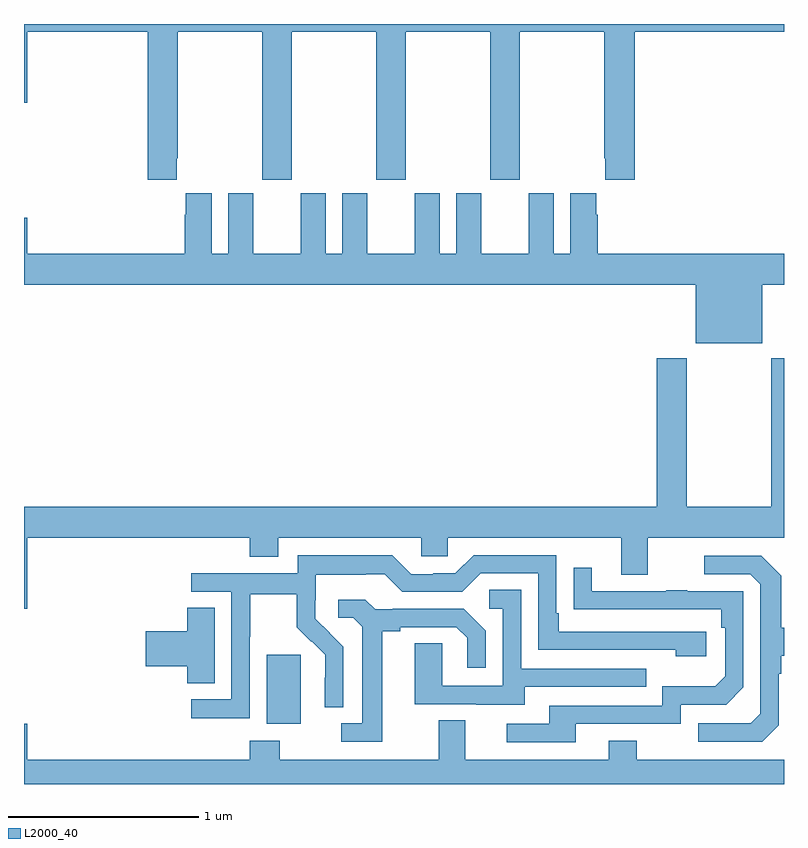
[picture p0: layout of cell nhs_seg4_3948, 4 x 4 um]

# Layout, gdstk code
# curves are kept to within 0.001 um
import gdstk
lib = gdstk.Library(unit=1e-6, precision=1e-09)
def R(c, l, rs):  # rectangles x0, y0, x1, y1
    for r in rs: c.add(gdstk.rectangle(r[:2], r[2:], *l))
def P(c, l, *ps):  # polygons
    for p in ps: c.add(gdstk.Polygon(p, *l))
L2000_40 = (2000, 40)

nhs_seg4_3948 = lib.new_cell('nhs_seg4_3948')
R(nhs_seg4_3948, L2000_40, [(322.277,753.218,322.456,753.579)])
P(nhs_seg4_3948, L2000_40, [(321.805,756.193),(321.81,756.193),(321.81,756.86),(322.255,756.86),(322.255,756.081),(322.41,756.081),(322.41,756.86),(322.855,756.86),(322.855,756.081),(323.01,756.081),(323.01,756.86),(323.455,756.86),(323.455,756.081),(323.61,756.081),(323.61,756.86),(324.055,756.86),(324.055,756.193),(324.059,756.193),(324.059,756.081),(324.215,756.081),(324.215,756.86),(325,756.86),(325,756.9),(321,756.9),(321,756.486),(321.016,756.486),(321.016,756.86),(321.65,756.86),(321.65,756.081),(321.805,756.081)],
  [(323.276,756.01),(323.276,755.692),(323.188,755.692),(323.188,756.01),(323.057,756.01),(323.057,755.692),(322.807,755.692),(322.807,756.01),(322.676,756.01),(322.676,755.692),(322.588,755.692),(322.588,756.01),(322.457,756.01),(322.457,755.692),(322.207,755.692),(322.207,756.01),(322.076,756.01),(322.076,755.692),(321.988,755.692),(321.988,756.01),(321.851,756.01),(321.851,755.897),(321.845,755.897),(321.845,755.692),(321.016,755.692),(321.016,755.881),(321,755.881),(321,755.528),(324.536,755.528),(324.536,755.219),(324.886,755.219),(324.886,755.528),(325,755.528),(325,755.692),(324.02,755.692),(324.02,755.897),(324.013,755.897),(324.013,756.01),(323.876,756.01),(323.876,755.692),(323.788,755.692),(323.788,756.01),(323.657,756.01),(323.657,755.692),(323.407,755.692),(323.407,756.01)],
  [(321.016,754.196),(322.187,754.196),(322.187,754.097),(322.339,754.097),(322.339,754.196),(323.091,754.196),(323.091,754.098),(323.229,754.098),(323.229,754.196),(324.143,754.196),(324.143,754.002),(324.283,754.002),(324.283,754.196),(325,754.196),(325,755.14),(324.934,755.14),(324.934,754.36),(324.489,754.36),(324.489,755.14),(324.329,755.14),(324.329,754.36),(321,754.36),(321,753.822),(321.016,753.822)],
  [(322.188,753.676),(322.191,753.676),(322.191,753.9),(322.435,753.9),(322.435,753.725),(322.512,753.648),(322.515,753.651),(322.586,753.581),(322.586,753.458),(322.584,753.458),(322.584,753.304),(322.68,753.304),(322.68,753.622),(322.534,753.77),(322.534,753.867),(322.536,753.867),(322.536,754.001),(322.799,754.001),(322.799,754.005),(322.899,754.005),(322.992,753.912),(323.307,753.912),(323.403,754.008),(323.706,754.008),(323.706,753.606),(324.431,753.606),(324.431,753.572),(324.592,753.572),(324.592,753.702),(323.815,753.702),(323.815,753.799),(323.802,753.799),(323.802,754.104),(323.367,754.104),(323.271,754.008),(323.153,754.008),(323.153,754.005),(323.037,754.005),(322.937,754.105),(322.44,754.105),(322.44,754.008),(321.879,754.008),(321.879,753.912),(322.092,753.912),(322.092,753.345),(321.879,753.345),(321.879,753.247),(322.188,753.247)],
  [(324.972,753.21),(324.972,753.479),(324.985,753.479),(324.985,753.575),(325,753.575),(325,753.723),(324.985,753.723),(324.985,753.995),(324.879,754.101),(324.579,754.101),(324.579,754.005),(324.822,754.005),(324.876,753.951),(324.876,753.27),(324.825,753.219),(324.549,753.219),(324.549,753.123),(324.885,753.123)],
  [(323.905,753.216),(324.456,753.216),(324.456,753.318),(324.696,753.318),(324.786,753.408),(324.786,753.915),(324.491,753.915),(324.491,753.92),(324.379,753.92),(324.379,753.915),(323.989,753.915),(323.989,754.039),(323.893,754.039),(323.893,753.82),(324.67,753.819),(324.67,753.722),(324.69,753.722),(324.69,753.468),(324.637,753.415),(324.36,753.415),(324.36,753.312),(323.765,753.312),(323.765,753.216),(323.541,753.216),(323.541,753.12),(323.905,753.12)],
  [(323.635,753.411),(324.275,753.411),(324.275,753.507),(323.616,753.507),(323.616,753.923),(323.448,753.923),(323.448,753.822),(323.52,753.822),(323.52,753.417),(323.202,753.417),(323.202,753.641),(323.057,753.641),(323.057,753.321),(323.381,753.321),(323.381,753.317),(323.635,753.317)],
  [(322.885,753.704),(322.981,753.704),(322.981,753.726),(323.276,753.726),(323.333,753.669),(323.333,753.513),(323.43,753.513),(323.43,753.706),(323.314,753.822),(322.942,753.822),(322.942,753.819),(322.848,753.819),(322.796,753.871),(322.653,753.871),(322.653,753.774),(322.734,753.774),(322.781,753.727),(322.781,753.219),(322.671,753.219),(322.671,753.123),(322.885,753.123)],
  [(322.003,753.827),(321.86,753.827),(321.86,753.704),(321.642,753.704),(321.642,753.521),(321.86,753.521),(321.86,753.43),(322.003,753.43)],
  [(325,753.028),(324.225,753.028),(324.225,753.127),(324.077,753.127),(324.077,753.028),(323.323,753.028),(323.323,753.236),(323.183,753.236),(323.183,753.028),(322.347,753.028),(322.347,753.127),(322.187,753.127),(322.187,753.028),(321.016,753.028),(321.016,753.217),(321,753.217),(321,752.9),(325,752.9)])

lib.write_gds('nhs_seg4_3948.gds')
